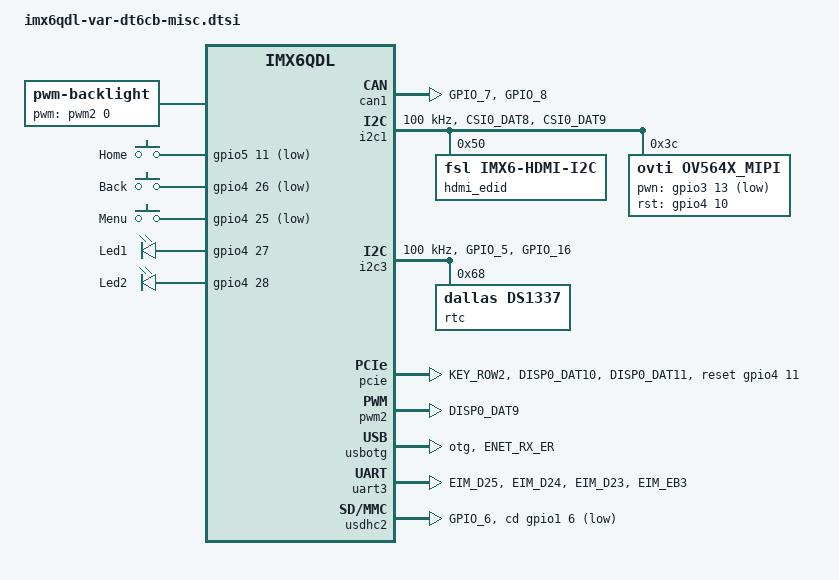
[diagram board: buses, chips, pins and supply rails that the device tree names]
/*
 * Copyright (C) 2015-2017 Variscite Ltd.
 *
 * This program is free software; you can redistribute it and/or modify
 * it under the terms of the GNU General Public License version 2 as
 * published by the Free Software Foundation.
 *
 * Buttons for VAR-DT6CustomBoard
 */
/ {
	backlight {
		compatible = "pwm-backlight";
		pwms = <&pwm2 0 50000>;
		brightness-levels = <0 4 8 16 32 64 128 248>;
		default-brightness-level = <7>;
		status = "okay";
	};

	/* Buttons in the motherboard */
	gpio-keys {
		compatible = "gpio-keys";
		pinctrl-names = "default";
		pinctrl-0 = <&pinctrl_gpio_keys>;

		home {
			label = "Home";
			gpios = <&gpio5 11 1>;
			linux,code = <KEY_HOMEPAGE>; /* KEY_HOMEPAGE */
			gpio-key,wakeup;
		};

		back {
			label = "Back";
			gpios = <&gpio4 26 1>;
			linux,code = <KEY_BACK>; /* KEY_BACK */
			gpio-key,wakeup;
		};

		menu {
			label = "Menu";
			gpios = <&gpio4 25 1>;
			linux,code = <KEY_MENU>; /* KEY_MENU */
			gpio-key,wakeup;
		};
	};

	gpio-leds {
		compatible = "gpio-leds";
		pinctrl-names = "default";
		pinctrl-0 = <&pinctrl_gpio_leds>;

		led1 {
			label = "Led1";
			gpios = <&gpio4 27 GPIO_ACTIVE_HIGH>;
			linux,default-trigger = "heartbeat";
		};

		led2 {
			label = "Led2";
			gpios = <&gpio4 28 GPIO_ACTIVE_HIGH>;
			default-state = "off";
		};
	};
};

&can1 {
	pinctrl-names = "default";
	pinctrl-0 = <&pinctrl_flexcan1>;
	status = "okay";
};

&i2c1 {
	clock-frequency = <100000>;
	pinctrl-names = "default";
	pinctrl-0 = <&pinctrl_i2c1>;
	status = "okay";

	hdmi_edid: edid@50 {
		compatible = "fsl,imx6-hdmi-i2c";
		reg = <0x50>;
	};

	ov564x_mipi: ov564x_mipi@3c {
		compatible = "ovti,ov564x_mipi";
		reg = <0x3c>;
		pinctrl-names = "default";
		pinctrl-0 = <&pinctrl_ov564x_mipi>;
		clocks = <&clks IMX6QDL_CLK_CKO2>;
		clock-names = "csi_mclk";
		pwn-gpios = <&gpio3 13 1>;
		rst-gpios = <&gpio4 10 0>;
		csi_id = <1>;
		mclk = <24000000>;
		mclk_source = <0>;
	};
};

&i2c3 {
	clock-frequency = <100000>;
	pinctrl-names = "default";
	pinctrl-0 = <&pinctrl_i2c3>;
	status = "okay";

	cap_touch: ft5x06_ts@38 {
		compatible = "edt,edt-ft5x06";
		reg = <0x38>;
		pinctrl-names = "default";
		pinctrl-0 = <&pinctrl_ft5x06>;
		interrupt-parent = <&gpio1>;
		interrupts = <4 0>;
		touchscreen-size-x = <800>;
		touchscreen-size-y = <480>;
		touchscreen-inverted-x;
		touchscreen-inverted-y;
		status = "disabled";
	};

	/* DS1337 RTC module */
	rtc@68 {
		compatible = "dallas,ds1337";
		reg = <0x68>;
	};
};

&iomuxc {
	imx6qdl-var-som-mx6 {
		pinctrl_flexcan1: flexcan1grp {
			fsl,pins = <
				MX6QDL_PAD_GPIO_7__FLEXCAN1_TX		0x80000000
				MX6QDL_PAD_GPIO_8__FLEXCAN1_RX		0x80000000
			>;
		};

		pinctrl_ft5x06: ft5x06grp {
			fsl,pins = <
				MX6QDL_PAD_GPIO_4__GPIO1_IO04		0x80000000
			>;
		};

		pinctrl_gpio_keys: gpiokeysgrp {
			fsl,pins = <
				MX6QDL_PAD_DISP0_DAT4__GPIO4_IO25	0x80000000
				MX6QDL_PAD_DISP0_DAT5__GPIO4_IO26	0x80000000
				MX6QDL_PAD_DISP0_DAT17__GPIO5_IO11	0x80000000
			>;
		};

		pinctrl_gpio_leds: gpioledsgrp {
			fsl,pins = <
				MX6QDL_PAD_DISP0_DAT6__GPIO4_IO27	0x80000000
				MX6QDL_PAD_DISP0_DAT7__GPIO4_IO28	0x80000000
			>;
		};

		pinctrl_i2c1: i2c1grp {
			fsl,pins = <
				MX6QDL_PAD_CSI0_DAT8__I2C1_SDA		0x4001b8b1
				MX6QDL_PAD_CSI0_DAT9__I2C1_SCL		0x4001b8b1
			>;
		};

		pinctrl_i2c3: i2c3grp {
			fsl,pins = <
				MX6QDL_PAD_GPIO_5__I2C3_SCL		0x4001b8b1
				MX6QDL_PAD_GPIO_16__I2C3_SDA		0x4001b8b1
			>;
		};

		pinctrl_ov564x_mipi: ov564xmipigrp {
			fsl,pins = <
				/* Camera Clock */
				MX6QDL_PAD_GPIO_3__CCM_CLKO2		0x130b0
				/* Camera powerdown */
				MX6QDL_PAD_EIM_DA13__GPIO3_IO13		0x80000000
				/* Camera reset */
				MX6QDL_PAD_KEY_COL2__GPIO4_IO10		0x80000000
			>;
		};

		pinctrl_pcie: pciegrp {
			fsl,pins = <
				MX6QDL_PAD_KEY_ROW2__GPIO4_IO11		0x80000000
				MX6QDL_PAD_DISP0_DAT10__GPIO4_IO31	0x80000000
				MX6QDL_PAD_DISP0_DAT11__GPIO5_IO05	0x80000000
			>;
		};

		pinctrl_pwm2: pwm2grp {
			fsl,pins = <
				MX6QDL_PAD_DISP0_DAT9__PWM2_OUT		0x1b0b1
			>;
		};

		/* Variscite UART2 support */
		pinctrl_uart3: uart3grp {	/* RX/TX RTS/CTS */
			fsl,pins = <
				MX6QDL_PAD_EIM_D25__UART3_RX_DATA	0x1b0b1
				MX6QDL_PAD_EIM_D24__UART3_TX_DATA	0x1b0b1
				MX6QDL_PAD_EIM_D23__UART3_CTS_B		0x1b0b1
				MX6QDL_PAD_EIM_EB3__UART3_RTS_B		0x1b0b1
			>;
		};

		pinctrl_usb_h1_vbus: usbh1vbusgrp {
			fsl,pins = <
				MX6QDL_PAD_ENET_TX_EN__GPIO1_IO28	0x80000000
			>;
		};

		pinctrl_usb_otg_vbus: usbotgvbusgrp {
			fsl,pins = <
				MX6QDL_PAD_KEY_ROW4__GPIO4_IO15		0x80000000
			>;
		};

		pinctrl_usbotg: usbotggrp {
			fsl,pins = <
				MX6QDL_PAD_ENET_RX_ER__USB_OTG_ID 0x17059
			>;
		};

		pinctrl_usdhc2_gpio: usdhc2gpiogrp {
			fsl,pins = <
				/* SDMMC2 CD */
				MX6QDL_PAD_GPIO_6__GPIO1_IO06		0x80000000
			>;
		};
	};
};

&pcie {
	pinctrl-names = "default";
	pinctrl-0 = <&pinctrl_pcie>;
	reset-gpio    = <&gpio4 11 0>;	/* gpio pin num of power good signal */
	wake-up-gpio  = <&gpio4 31 1>;	/* gpio pin num of incoming wakeup signal */
	disable-gpio  = <&gpio5 5 0>;	/* gpio pin num of outgoing rfkill/endpoint disable signal */
	status = "okay";
};

&pwm2 {
	pinctrl-names = "default";
	pinctrl-0 = <&pinctrl_pwm2>;
	status = "okay";
};

&reg_usb_h1_vbus {
	pinctrl-names = "default";
	pinctrl-0 = <&pinctrl_usb_h1_vbus>;
	gpio = <&gpio1 28 0>;
	enable-active-high;
};

&reg_usb_otg_vbus {
	pinctrl-names = "default";
	pinctrl-0 = <&pinctrl_usb_otg_vbus>;
	gpio = <&gpio4 15 0>;
	enable-active-high;
};

&usbotg {
	pinctrl-names = "default";
	pinctrl-0 = <&pinctrl_usbotg>;
	dr_mode = "otg"; /* Use "host" if you would like to use the USB0 type A connector */
};

/* ttymxc2 UART */
&uart3 {
	pinctrl-names = "default";
	pinctrl-0 = <&pinctrl_uart3>;
	uart-has-rtscts;
	status = "okay";
};

&usdhc2 {	/* uSDHC2, MMC/SD card */
	pinctrl-names = "default";
	pinctrl-0 = <&pinctrl_usdhc2_2>, <&pinctrl_usdhc2_gpio>;
	cd-gpios = <&gpio1 6 1>;
	no-1-8-v;
	keep-power-in-suspend;
	enable-sdio-wakeup;
	status = "okay";
};
